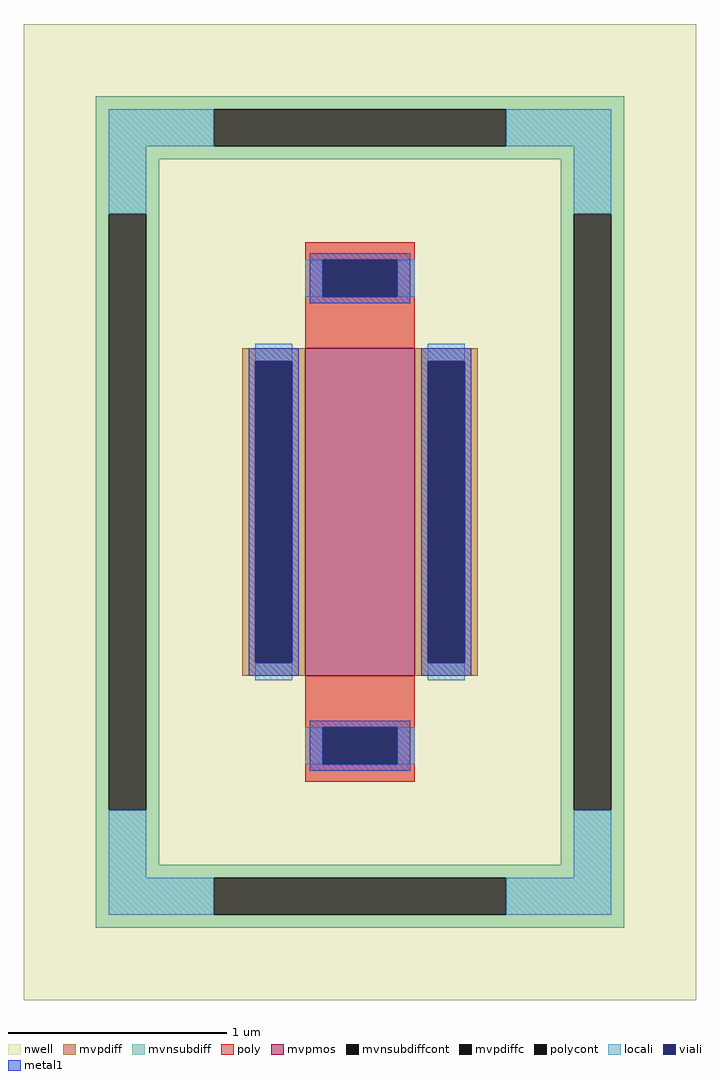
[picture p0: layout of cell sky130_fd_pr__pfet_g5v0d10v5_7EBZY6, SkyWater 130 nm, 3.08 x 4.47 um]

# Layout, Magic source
magic
tech sky130B
magscale 1 2
<< nwell >>
rect -308 -447 308 447
<< mvpmos >>
rect -50 -150 50 150
<< mvpdiff >>
rect -108 138 -50 150
rect -108 -138 -96 138
rect -62 -138 -50 138
rect -108 -150 -50 -138
rect 50 138 108 150
rect 50 -138 62 138
rect 96 -138 108 138
rect 50 -150 108 -138
<< mvpdiffc >>
rect -96 -138 -62 138
rect 62 -138 96 138
<< mvnsubdiff >>
rect -242 369 242 381
rect -242 335 -134 369
rect 134 335 242 369
rect -242 323 242 335
rect -242 273 -184 323
rect -242 -273 -230 273
rect -196 -273 -184 273
rect 184 273 242 323
rect -242 -323 -184 -273
rect 184 -273 196 273
rect 230 -273 242 273
rect 184 -323 242 -273
rect -242 -335 242 -323
rect -242 -369 -134 -335
rect 134 -369 242 -335
rect -242 -381 242 -369
<< mvnsubdiffcont >>
rect -134 335 134 369
rect -230 -273 -196 273
rect 196 -273 230 273
rect -134 -369 134 -335
<< poly >>
rect -50 231 50 247
rect -50 197 -34 231
rect 34 197 50 231
rect -50 150 50 197
rect -50 -197 50 -150
rect -50 -231 -34 -197
rect 34 -231 50 -197
rect -50 -247 50 -231
<< polycont >>
rect -34 197 34 231
rect -34 -231 34 -197
<< locali >>
rect -230 335 -134 369
rect 134 335 230 369
rect -230 273 -196 335
rect 196 273 230 335
rect -50 197 -34 231
rect 34 197 50 231
rect -96 138 -62 154
rect -96 -154 -62 -138
rect 62 138 96 154
rect 62 -154 96 -138
rect -50 -231 -34 -197
rect 34 -231 50 -197
rect -230 -335 -196 -273
rect 196 -335 230 -273
rect -230 -369 -134 -335
rect 134 -369 230 -335
<< viali >>
rect -34 197 34 231
rect -96 -138 -62 138
rect 62 -138 96 138
rect -34 -231 34 -197
<< metal1 >>
rect -46 231 46 237
rect -46 197 -34 231
rect 34 197 46 231
rect -46 191 46 197
rect -102 138 -56 150
rect -102 -138 -96 138
rect -62 -138 -56 138
rect -102 -150 -56 -138
rect 56 138 102 150
rect 56 -138 62 138
rect 96 -138 102 138
rect 56 -150 102 -138
rect -46 -197 46 -191
rect -46 -231 -34 -197
rect 34 -231 46 -197
rect -46 -237 46 -231
<< properties >>
string FIXED_BBOX -213 -352 213 352
string gencell sky130_fd_pr__pfet_g5v0d10v5
string library sky130
string parameters w 1.5 l 0.5 m 1 nf 1 diffcov 100 polycov 100 guard 1 glc 1 grc 1 gtc 1 gbc 1 tbcov 100 rlcov 100 topc 1 botc 1 poverlap 0 doverlap 1 lmin 0.50 wmin 0.42 compatible {sky130_fd_pr__pfet_01v8  sky130_fd_pr__pfet_01v8_lvt sky130_fd_pr__pfet_01v8_hvt  sky130_fd_pr__pfet_g5v0d10v5} full_metal 1 viasrc 100 viadrn 100 viagate 100 viagb 0 viagr 0 viagl 0 viagt 0
<< end >>
